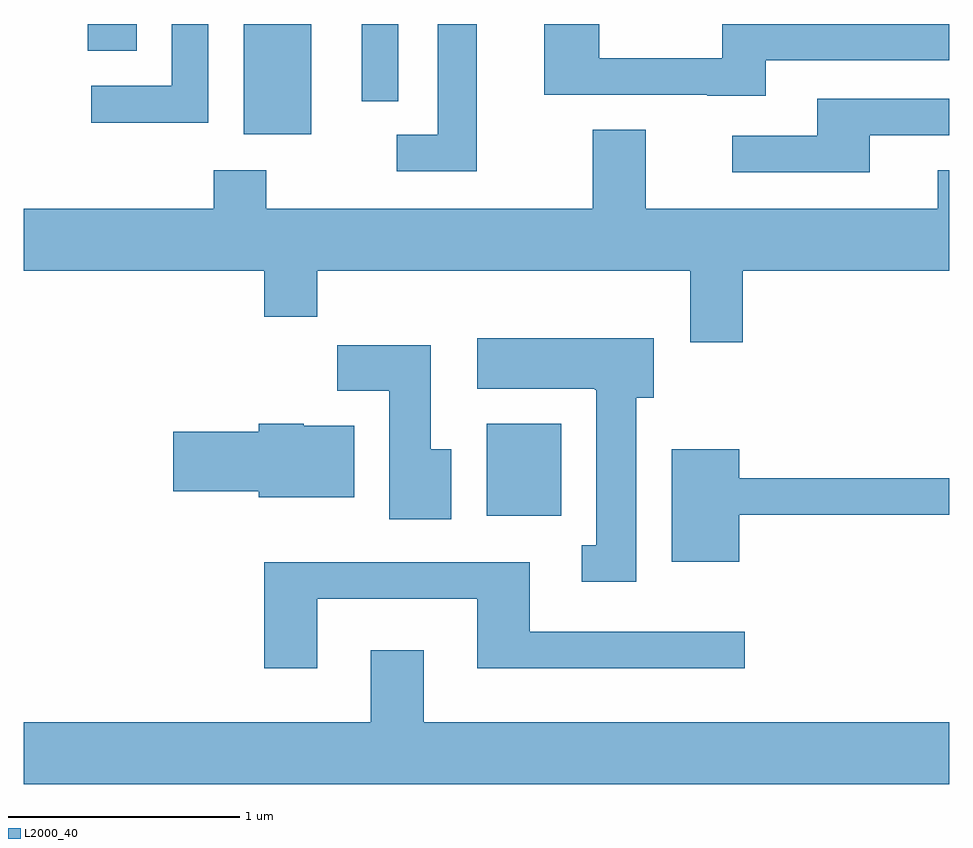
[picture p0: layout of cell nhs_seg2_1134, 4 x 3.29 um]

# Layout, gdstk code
import gdstk
lib = gdstk.Library(unit=1e-6, precision=1e-09)
def R(c, l, rs):  # rectangles x0, y0, x1, y1
    for r in rs: c.add(gdstk.rectangle(r[:2], r[2:], *l))
def P(c, l, *ps):  # polygons
    for p in ps: c.add(gdstk.Polygon(p, *l))
L2000_40 = (2000, 40)

nhs_seg2_1134 = lib.new_cell('nhs_seg2_1134')
R(nhs_seg2_1134, L2000_40, [(219.611,1071.676,219.934,1072.074), (218.561,1073.326,218.854,1073.802), (219.071,1073.468,219.229,1073.802), (217.886,1073.686,218.099,1073.802)])
P(nhs_seg2_1134, L2000_40, [(220.819,1073.646),(221.611,1073.646),(221.611,1073.802),(220.631,1073.802),(220.631,1073.654),(220.099,1073.654),(220.099,1073.802),(219.861,1073.802),(219.861,1073.496),(220.565,1073.496),(220.565,1073.491),(220.819,1073.491)],
  [(219.569,1073.802),(219.401,1073.802),(219.401,1073.324),(219.223,1073.324),(219.223,1073.166),(219.569,1073.166)],
  [(218.409,1073.802),(218.251,1073.802),(218.251,1073.534),(217.903,1073.534),(217.903,1073.376),(218.409,1073.376)],
  [(221.269,1073.321),(221.611,1073.321),(221.611,1073.479),(221.041,1073.479),(221.041,1073.319),(220.673,1073.319),(220.673,1073.161),(221.269,1073.161)],
  [(220.719,1072.736),(221.611,1072.736),(221.611,1073.169),(221.561,1073.169),(221.561,1073.004),(220.299,1073.004),(220.299,1073.344),(220.071,1073.344),(220.071,1073.004),(218.659,1073.004),(218.659,1073.169),(218.431,1073.169),(218.431,1073.004),(217.611,1073.004),(217.611,1072.736),(218.651,1072.736),(218.651,1072.536),(218.879,1072.536),(218.879,1072.736),(220.491,1072.736),(220.491,1072.426),(220.719,1072.426)],
  [(220.259,1072.186),(220.334,1072.186),(220.334,1072.444),(219.571,1072.444),(219.571,1072.226),(220.08,1072.226),(220.08,1072.22),(220.086,1072.22),(220.086,1071.549),(220.023,1071.549),(220.023,1071.391),(220.259,1071.391)],
  [(219.459,1071.964),(219.369,1071.964),(219.369,1072.414),(218.966,1072.414),(218.966,1072.216),(219.191,1072.216),(219.191,1071.661),(219.459,1071.661)],
  [(219.039,1072.064),(218.82,1072.064),(218.82,1072.074),(218.626,1072.074),(218.626,1072.039),(218.256,1072.039),(218.256,1071.781),(218.626,1071.781),(218.626,1071.756),(219.039,1071.756)],
  [(220.704,1071.681),(221.611,1071.681),(221.611,1071.839),(220.704,1071.839),(220.704,1071.964),(220.411,1071.964),(220.411,1071.476),(220.704,1071.476)],
  [(218.879,1071.316),(219.571,1071.316),(219.571,1071.016),(220.728,1071.016),(220.728,1071.174),(219.799,1071.174),(219.799,1071.474),(218.651,1071.474),(218.651,1071.016),(218.879,1071.016)],
  [(221.611,1070.784),(219.339,1070.784),(219.339,1071.094),(219.111,1071.094),(219.111,1070.784),(217.611,1070.784),(217.611,1070.516),(221.611,1070.516)])

lib.write_gds('nhs_seg2_1134.gds')
